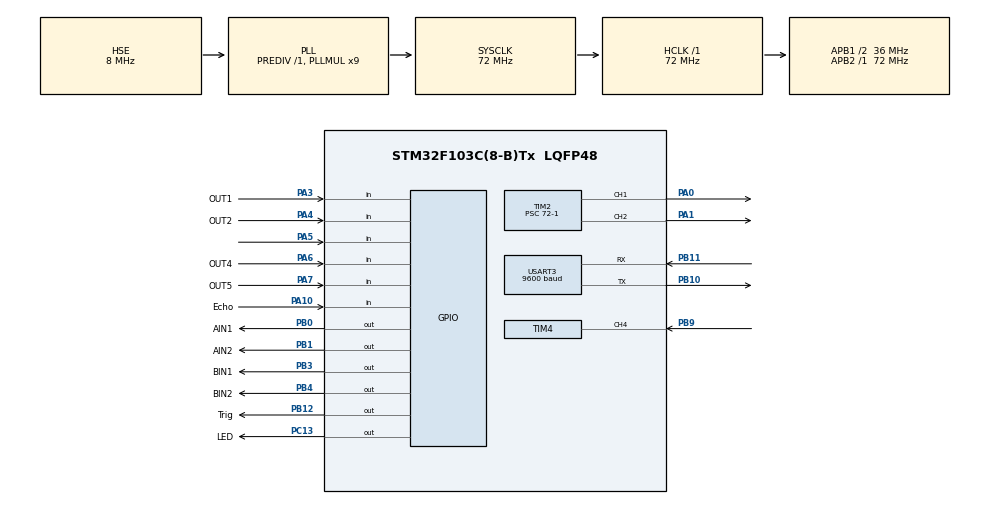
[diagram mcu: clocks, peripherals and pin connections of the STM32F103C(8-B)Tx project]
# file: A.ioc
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Mcu.Family=STM32F1
Mcu.Name=STM32F103C(8-B)Tx
Mcu.Package=LQFP48
NVIC.PriorityGroup=NVIC_PRIORITYGROUP_4
NVIC.TIM2_IRQn=true\:0\:0\:false\:false\:true\:true\:true\:true
NVIC.USART3_IRQn=true\:0\:0\:false\:false\:true\:true\:true\:true
PA0-WKUP.Signal=S_TIM2_CH1_ETR
PA1.Signal=S_TIM2_CH2
PA10.GPIO_Label=Echo
PA10.Signal=GPIO_Input
PA13.Mode=Serial_Wire
PA13.Signal=SYS_JTMS-SWDIO
PA14.Mode=Serial_Wire
PA14.Signal=SYS_JTCK-SWCLK
PA3.GPIO_Label=OUT1
PA3.GPIO_PuPd=GPIO_PULLUP
PA3.Signal=GPIO_Input
PA4.GPIO_Label=OUT2
PA4.GPIO_PuPd=GPIO_PULLUP
PA4.Signal=GPIO_Input
PA5.Signal=GPIO_Input
PA6.GPIO_Label=OUT4
PA6.GPIO_PuPd=GPIO_PULLUP
PA6.Signal=GPIO_Input
PA7.GPIO_Label=OUT5
PA7.GPIO_PuPd=GPIO_PULLUP
PA7.Signal=GPIO_Input
PB0.GPIO_Label=AIN1
PB0.GPIO_PuPd=GPIO_PULLUP
PB0.Signal=GPIO_Output
PB1.GPIO_Label=AIN2
PB1.GPIO_PuPd=GPIO_PULLUP
PB1.Signal=GPIO_Output
PB10.Mode=Asynchronous
PB10.Signal=USART3_TX
PB11.Mode=Asynchronous
PB11.Signal=USART3_RX
PB12.GPIO_Label=Trig
PB12.Signal=GPIO_Output
PB3.GPIO_Label=BIN1
PB3.GPIO_PuPd=GPIO_PULLUP
PB3.Signal=GPIO_Output
PB4.GPIO_Label=BIN2
PB4.GPIO_PuPd=GPIO_PULLUP
PB4.Signal=GPIO_Output
PB9.Signal=S_TIM4_CH4
PC13-TAMPER-RTC.GPIO_Label=LED
PC13-TAMPER-RTC.PinState=GPIO_PIN_SET
PC13-TAMPER-RTC.Signal=GPIO_Output
PD0-OSC_IN.Mode=HSE-External-Oscillator
PD0-OSC_IN.Signal=RCC_OSC_IN
PD1-OSC_OUT.Mode=HSE-External-Oscillator
PD1-OSC_OUT.Signal=RCC_OSC_OUT
ProjectManager.HeapSize=0x200
ProjectManager.StackSize=0x400
ProjectManager.TargetToolchain=MDK-ARM V5.32
RCC.AHBFreq_Value=72000000
RCC.APB1CLKDivider=RCC_HCLK_DIV2
RCC.APB1Freq_Value=36000000
RCC.APB1TimFreq_Value=72000000
RCC.APB2Freq_Value=72000000
RCC.APB2TimFreq_Value=72000000
RCC.HCLKFreq_Value=72000000
RCC.PLLMUL=RCC_PLL_MUL9
RCC.PLLSourceVirtual=RCC_PLLSOURCE_HSE
RCC.SYSCLKFreq_VALUE=72000000
RCC.SYSCLKSource=RCC_SYSCLKSOURCE_PLLCLK
RCC.USBFreq_Value=72000000
SH.S_TIM2_CH1_ETR.0=TIM2_CH1,PWM Generation1 CH1
SH.S_TIM2_CH2.0=TIM2_CH2,PWM Generation2 CH2
SH.S_TIM4_CH4.0=TIM4_CH4,Input_Capture4_from_TI4
TIM1.AutoReloadPreload=TIM_AUTORELOAD_PRELOAD_ENABLE
TIM1.CounterMode=TIM_COUNTERMODE_UP
TIM1.Period=65535
TIM1.Prescaler=72
TIM2.AutoReloadPreload=TIM_AUTORELOAD_PRELOAD_ENABLE
TIM2.Channel-PWM\ Generation1\ CH1=TIM_CHANNEL_1
TIM2.Channel-PWM\ Generation2\ CH2=TIM_CHANNEL_2
TIM2.OCPolarity_2=TIM_OCPOLARITY_HIGH
TIM2.Period=1000-1
TIM2.Prescaler=72-1
TIM4.Channel-Input_Capture4_from_TI4=TIM_CHANNEL_4
USART3.BaudRate=9600
USART3.VirtualMode=VM_ASYNC
VP_TIM1_VS_ClockSourceINT.Mode=Internal
VP_TIM2_VS_ClockSourceINT.Mode=Internal
board=custom

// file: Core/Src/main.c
/* USER CODE BEGIN Header */
/**
  ******************************************************************************
  * @file           : main.c
  * @brief          : Main program body
  ******************************************************************************
  * @attention
  *
  * Copyright (c) 2025 STMicroelectronics.
  * All rights reserved.
  *
  * This software is licensed under terms that can be found in the LICENSE file
  * in the root directory of this software component.
  * If no LICENSE file comes with this software, it is provided AS-IS.
  *
  ******************************************************************************
  */
/* USER CODE END Header */
#include "main.h"
#include "tim.h"
#include "usart.h"
#include "gpio.h"

/* USER CODE BEGIN Includes */
#include "qudong.h"
#include "USART.h"
#include "xunji.h"
#include "bizhang.h"
#include <stdio.h>
/* USER CODE END Includes */

/* USER CODE BEGIN PD */
	char data[20];
/* USER CODE END PD */

/* USER CODE BEGIN PM */
   uint8_t rxdata;

/* USER CODE END PM */

void SystemClock_Config(void);

int main(void)
{

  /* USER CODE BEGIN 1 */
	HAL_TIM_PWM_Start(&htim2,TIM_CHANNEL_3);
  /* USER CODE END 1 */

  /* MCU Configuration--------------------------------------------------------*/

  /* Reset of all peripherals, Initializes the Flash interface and the Systick. */
  HAL_Init();

  /* Configure the system clock */
  SystemClock_Config();

  /* Initialize all configured peripherals */
  MX_GPIO_Init();
  MX_TIM2_Init();
  MX_TIM1_Init();
  MX_USART3_UART_Init();
  MX_TIM4_Init();
  /* USER CODE BEGIN 2 */
  HAL_TIM_Base_Start(&htim1);
  HAL_TIM_IC_Start(&htim1,TIM_CHANNEL_3);
  HAL_TIM_IC_Start_IT(&htim1,TIM_CHANNEL_4);
  HAL_TIM_PWM_Start(&htim2,TIM_CHANNEL_2);
  HAL_TIM_PWM_Start(&htim2,TIM_CHANNEL_1);

  //TraceSensorState sensor;
  /* USER CODE END 2 */

  /* Infinite loop */
  /* USER CODE BEGIN WHILE */
  while (1)
{
	   HAL_UART_Receive_IT(&huart3, &rxdata, 1);

		uint8_t a=get_distance();

		if(get_distance()<=20.0)
		{	goLeft();
			HAL_Delay(2000);
			goForward();
		}

		sprintf(data,"distance: %d",a);

	if(rxdata=='M')
	{
	if(get_distance()<=10.0)
	{
	stop();
	}
	else{
    manzuo();
	}
	}
	if(rxdata=='A')

	{
	xunjimode();
	}

	}
}

    /* USER CODE END WHILE */

    /* USER CODE BEGIN 3 */
void BLEprocess(uint8_t cmd);
void HAL_UART_RxCpltCallback(UART_HandleTypeDef *huart)
{
	if(huart==&huart3)
	{
	   BLEprocess(rxdata);
	   HAL_UART_Transmit(&huart3,&rxdata,1,10);
	HAL_UART_Transmit_IT(&huart3,(uint8_t*)data,sizeof(data));
	}

	  HAL_UART_Receive_IT(&huart3,&rxdata,1);
}

  /* USER CODE END 3 */

void SystemClock_Config(void)
{
  RCC_OscInitTypeDef RCC_OscInitStruct = {0};
  RCC_ClkInitTypeDef RCC_ClkInitStruct = {0};

  /** Initializes the RCC Oscillators according to the specified parameters
  * in the RCC_OscInitTypeDef structure.
  */
  RCC_OscInitStruct.OscillatorType = RCC_OSCILLATORTYPE_HSE;
  RCC_OscInitStruct.HSEState = RCC_HSE_ON;
  RCC_OscInitStruct.HSEPredivValue = RCC_HSE_PREDIV_DIV1;
  RCC_OscInitStruct.HSIState = RCC_HSI_ON;
  RCC_OscInitStruct.PLL.PLLState = RCC_PLL_ON;
  RCC_OscInitStruct.PLL.PLLSource = RCC_PLLSOURCE_HSE;
  RCC_OscInitStruct.PLL.PLLMUL = RCC_PLL_MUL9;
  if (HAL_RCC_OscConfig(&RCC_OscInitStruct) != HAL_OK)
  {
    Error_Handler();
  }

  /** Initializes the CPU, AHB and APB buses clocks
  */
  RCC_ClkInitStruct.ClockType = RCC_CLOCKTYPE_HCLK|RCC_CLOCKTYPE_SYSCLK
                              |RCC_CLOCKTYPE_PCLK1|RCC_CLOCKTYPE_PCLK2;
  RCC_ClkInitStruct.SYSCLKSource = RCC_SYSCLKSOURCE_PLLCLK;
  RCC_ClkInitStruct.AHBCLKDivider = RCC_SYSCLK_DIV1;
  RCC_ClkInitStruct.APB1CLKDivider = RCC_HCLK_DIV2;
  RCC_ClkInitStruct.APB2CLKDivider = RCC_HCLK_DIV1;

  if (HAL_RCC_ClockConfig(&RCC_ClkInitStruct, FLASH_LATENCY_2) != HAL_OK)
  {
    Error_Handler();
  }
}

void Error_Handler(void)
{
  while (1)
  {
  }
}
